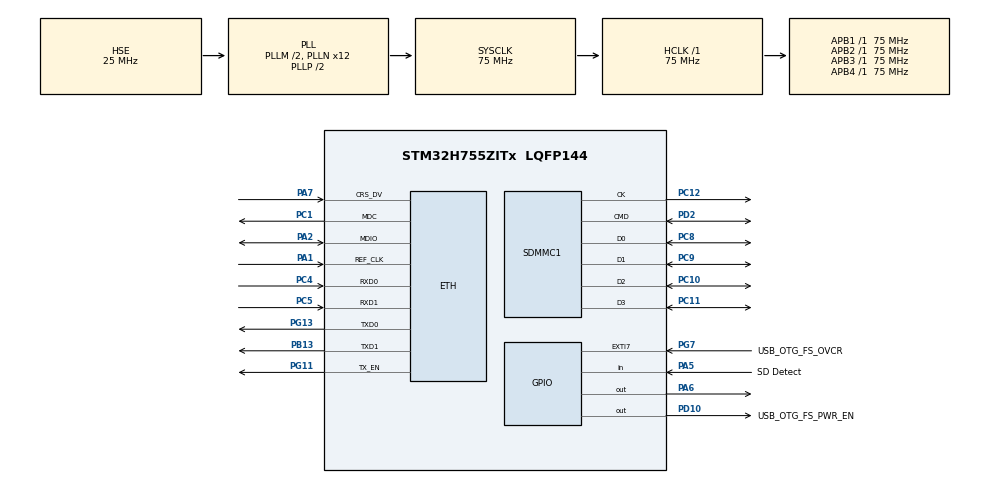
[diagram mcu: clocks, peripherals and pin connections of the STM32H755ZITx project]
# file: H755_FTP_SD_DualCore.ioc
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CORTEX_M7.AccessPermission-Cortex_Memory_Protection_Unit_Region0_Settings=MPU_REGION_FULL_ACCESS
CORTEX_M7.BaseAddress-Cortex_Memory_Protection_Unit_Region0_Settings=0x24000000
CORTEX_M7.CPU_DCache=Enabled
CORTEX_M7.CPU_ICache=Enabled
CORTEX_M7.DisableExec-Cortex_Memory_Protection_Unit_Region0_Settings=MPU_INSTRUCTION_ACCESS_DISABLE
CORTEX_M7.Enable-Cortex_Memory_Protection_Unit_Region0_Settings=MPU_REGION_ENABLE
CORTEX_M7.IsShareable-Cortex_Memory_Protection_Unit_Region0_Settings=MPU_ACCESS_SHAREABLE
CORTEX_M7.MPU_Control=MPU_HFNMI_PRIVDEF
CORTEX_M7.Size-Cortex_Memory_Protection_Unit_Region0_Settings=MPU_REGION_SIZE_64KB
CortexM4.IPs=FATFS_M4\:I,FREERTOS_M4\:I,IWDG2\:I,RCC,WWDG2\:I,DMA,BDMA,MDMA,NVIC2\:I,ETH\:I,DEBUG,PDM2PCM_M4\:I,PWR,RESMGR_UTILITY,SYS_M4\:I,USB_DEVICE_M4\:I,USB_HOST_M4\:I,CORTEX_M4\:I,GPIO,OPENAMP_M4\:I,VREFBUF,NUCLEO-H755ZI-Q,LWIP\:I
CortexM7.IPs=FATFS_M7\:I,FREERTOS_M7\:I,IWDG1\:I,RCC\:I,WWDG1\:I,DMA\:I,BDMA\:I,MDMA\:I,NVIC1\:I,USB_OTG_FS\:I,USB_OTG_FS1\:I,SYS\:I,CORTEX_M7\:I,DEBUG\:I,PDM2PCM_M7\:I,PWR\:I,RESMGR_UTILITY\:I,USB_DEVICE_M7\:I,USB_HOST_M7\:I,GPIO\:I,OPENAMP_M7\:I,VREFBUF\:I,NUCLEO-H755ZI-Q\:I,SDMMC1\:I
CortexM7.Pins=PA5,PA6
ETH.MediaInterface=HAL_ETH_RMII_MODE
FATFS.BSP.number=1
FATFS0.BSP.STBoard=false
FATFS0.BSP.api=Unknown
FATFS0.BSP.instance=PA5
FATFS0.BSP.ip=GPIO
FATFS0.BSP.mode=Input
FATFS0.BSP.name=Detect_SDIO
FATFS0.BSP.solution=PA5
FATFS_M7._USE_LFN=1
LWIP.BSP.number=1
LWIP.GATEWAY_ADDRESS=192.168.088.254
LWIP.IP_ADDRESS=192.168.088.010
LWIP.LWIP_DHCP=0
LWIP.NETMASK_ADDRESS=255.255.255.000
LWIP.Version=v2.2.1_Cube
LWIP0.BSP.STBoard=false
LWIP0.BSP.api=BSP_COMPONENT_DRIVER
LWIP0.BSP.component=LAN8742
LWIP0.BSP.instance=LAN8742
LWIP0.BSP.name=Driver_PHY
LWIP0.BSP.semaphore=S_LAN8742
LWIP0.BSP.solution=LAN8742
Mcu.Family=STM32H7
Mcu.Name=STM32H755ZITx
Mcu.Package=LQFP144
NUCLEO-H755ZI-Q.BUTTON=1
NUCLEO-H755ZI-Q.LD1=true
NUCLEO-H755ZI-Q.LD2=true
NUCLEO-H755ZI-Q.LD3=true
NUCLEO-H755ZI-Q.VCP=true
NVIC1.EXTI15_10_IRQn=true\:0\:0\:false\:false\:true\:false\:true\:true
NVIC1.PriorityGroup=NVIC_PRIORITYGROUP_4
NVIC1.SDMMC1_IRQn=true\:0\:0\:false\:false\:true\:true\:true\:true
NVIC2.PriorityGroup=NVIC_PRIORITYGROUP_4
PA1.GPIO_Speed_Default_HIGH=GPIO_SPEED_FREQ_VERY_HIGH
PA1.Mode=RMII
PA1.PinAttribute=CortexM4
PA1.Signal=ETH_REF_CLK
PA11.PinAttribute=CortexM7
PA11.Signal=USB_OTG_FS_DM
PA12.PinAttribute=CortexM7
PA12.Signal=USB_OTG_FS_DP
PA2.GPIO_Speed_Default_HIGH=GPIO_SPEED_FREQ_VERY_HIGH
PA2.Mode=RMII
PA2.PinAttribute=CortexM4
PA2.Signal=ETH_MDIO
PA5.GPIO_Label=SD Detect
PA5.PinAttribute=CortexM7
PA5.Signal=GPIO_Input
PA6.GPIO_Speed=GPIO_SPEED_FREQ_VERY_HIGH
PA6.PinAttribute=CortexM7
PA6.Signal=GPIO_Output
PA7.GPIO_Speed_Default_HIGH=GPIO_SPEED_FREQ_VERY_HIGH
PA7.Mode=RMII
PA7.PinAttribute=CortexM4
PA7.Signal=ETH_CRS_DV
PA8.PinAttribute=CortexM7
PA8.Signal=USB_OTG_FS_SOF
PA9.PinAttribute=CortexM7
PA9.Signal=USB_OTG_FS_VBUS
PB13.GPIO_Speed_Default_HIGH=GPIO_SPEED_FREQ_VERY_HIGH
PB13.Mode=RMII
PB13.PinAttribute=CortexM4
PB13.Signal=ETH_TXD1
PC1.GPIO_Speed_Default_HIGH=GPIO_SPEED_FREQ_VERY_HIGH
PC1.Mode=RMII
PC1.PinAttribute=CortexM4
PC1.Signal=ETH_MDC
PC10.GPIO_PuPd=GPIO_PULLUP
PC10.Mode=SD_4_bits_Wide_bus
PC10.PinAttribute=CortexM7
PC10.Signal=SDMMC1_D2
PC11.GPIO_PuPd=GPIO_PULLUP
PC11.Mode=SD_4_bits_Wide_bus
PC11.PinAttribute=CortexM7
PC11.Signal=SDMMC1_D3
PC12.GPIO_PuPd=GPIO_PULLUP
PC12.Mode=SD_4_bits_Wide_bus
PC12.PinAttribute=CortexM7
PC12.Signal=SDMMC1_CK
PC14-OSC32_IN\ (OSC32_IN).PinAttribute=Free
PC14-OSC32_IN\ (OSC32_IN).Signal=RCC_OSC32_IN
PC15-OSC32_OUT\ (OSC32_OUT).PinAttribute=Free
PC15-OSC32_OUT\ (OSC32_OUT).Signal=RCC_OSC32_OUT
PC4.GPIO_Speed_Default_HIGH=GPIO_SPEED_FREQ_VERY_HIGH
PC4.Mode=RMII
PC4.PinAttribute=CortexM4
PC4.Signal=ETH_RXD0
PC5.GPIO_Speed_Default_HIGH=GPIO_SPEED_FREQ_VERY_HIGH
PC5.Mode=RMII
PC5.PinAttribute=CortexM4
PC5.Signal=ETH_RXD1
PC8.GPIO_PuPd=GPIO_PULLUP
PC8.Mode=SD_4_bits_Wide_bus
PC8.PinAttribute=CortexM7
PC8.Signal=SDMMC1_D0
PC9.GPIO_PuPd=GPIO_PULLUP
PC9.Mode=SD_4_bits_Wide_bus
PC9.PinAttribute=CortexM7
PC9.Signal=SDMMC1_D1
PD10.GPIO_Label=USB_OTG_FS_PWR_EN
PD10.PinAttribute=Free
PD10.Signal=GPIO_Output
PD2.GPIO_PuPd=GPIO_PULLUP
PD2.Mode=SD_4_bits_Wide_bus
PD2.PinAttribute=CortexM7
PD2.Signal=SDMMC1_CMD
PD8.Signal=USART3_TX
PD9.Signal=USART3_RX
PG11.GPIO_Speed_Default_HIGH=GPIO_SPEED_FREQ_VERY_HIGH
PG11.Mode=RMII
PG11.PinAttribute=CortexM4
PG11.Signal=ETH_TX_EN
PG13.GPIO_Speed_Default_HIGH=GPIO_SPEED_FREQ_VERY_HIGH
PG13.Mode=RMII
PG13.PinAttribute=CortexM4
PG13.Signal=ETH_TXD0
PG7.GPIO_Label=USB_OTG_FS_OVCR
PG7.PinAttribute=Free
PG7.Signal=GPXTI7
PH0-OSC_IN\ (PH0).Mode=HSE-External-Clock-Source
PH0-OSC_IN\ (PH0).PinAttribute=Free
PH0-OSC_IN\ (PH0).Signal=RCC_OSC_IN
PH1-OSC_OUT\ (PH1).PinAttribute=Free
PH1-OSC_OUT\ (PH1).Signal=RCC_OSC_OUT
ProjectManager.HeapSize=M4-0x1000,M7-0x1000
ProjectManager.StackSize=M4-0x1000,M7-0x2000
ProjectManager.TargetToolchain=STM32CubeIDE
RCC.ADCFreq_Value=50390625
RCC.APB1Freq_Value=75000000
RCC.APB2Freq_Value=75000000
RCC.APB3Freq_Value=75000000
RCC.APB4Freq_Value=75000000
RCC.CortexFreq_Value=75000000
RCC.DIVM1=2
RCC.DIVN1=12
RCC.HCLKFreq_Value=75000000
RCC.PLL2FRACN=0
RCC.PLL3FRACN=0
RCC.PLLFRACN=0
RCC.PLLSourceVirtual=RCC_PLLSOURCE_HSE
RCC.SYSCLKFreq_VALUE=75000000
RCC.SYSCLKSource=RCC_SYSCLKSOURCE_PLLCLK
RCC.SupplySource=PWR_DIRECT_SMPS_SUPPLY
RCC.USBFreq_Value=75000000
SDMMC1.ClockDiv=4
VP_FATFS_M7_VS_SDIO.Mode=SDIO
VP_LWIP_VS_Enabled.Mode=Enabled
VP_NUCLEO-H755ZI-Q_VS_BSP_COMMON.Mode=COMMON
VP_SYS_M4_VS_Systick.Mode=SysTick
board=NUCLEO-H755ZI-Q

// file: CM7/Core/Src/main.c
/* USER CODE BEGIN Header */
/**
  ******************************************************************************
  * @file           : main.c
  * @brief          : Main program body
  ******************************************************************************
  * @attention
  *
  * Copyright (c) 2026 STMicroelectronics.
  * All rights reserved.
  *
  * This software is licensed under terms that can be found in the LICENSE file
  * in the root directory of this software component.
  * If no LICENSE file comes with this software, it is provided AS-IS.
  *
  ******************************************************************************
  */
/* USER CODE END Header */
#include "main.h"
#include "fatfs.h"
#include "sdmmc.h"
#include "gpio.h"

/* USER CODE BEGIN Includes */
#include "ff.h"
#include <stdio.h>
#include <string.h>
#include "cm7_file_index.h"
/* USER CODE END Includes */

/* USER CODE BEGIN PD */

/* DUAL_CORE_BOOT_SYNC_SEQUENCE: Define for dual core boot synchronization    */
/*                             demonstration code based on hardware semaphore */
/* This define is present in both CM7/CM4 projects                            */
/* To comment when developping/debugging on a single core                     */
#define DUAL_CORE_BOOT_SYNC_SEQUENCE

#if defined(DUAL_CORE_BOOT_SYNC_SEQUENCE)
#ifndef HSEM_ID_0
#define HSEM_ID_0 (0U) /* HW semaphore 0*/
#endif
#endif /* DUAL_CORE_BOOT_SYNC_SEQUENCE */

/* USER CODE END PD */

COM_InitTypeDef BspCOMInit;

/* USER CODE BEGIN PV */

/******************************* 以下變數開啟，因為在其他檔案有用到 ****************************************/
#define BUFFER_SIZE_BYTES     (32 * 1024)

#define SD_BLOCK_SIZE         512
#define SD_BLOCK_COUNT        (BUFFER_SIZE_BYTES / SD_BLOCK_SIZE)

#define START_SECTOR          0x1000

#define CHUNKS_PER_FILE       16    // 生成5個檔案，約 8 秒 432KB，8192筆資料
//#define CHUNKS_PER_FILE       64    // 生成 約 1.7MB 大小的檔案，檔案內容資料有 32768 筆資料

#define MAX_FILES_TO_GENERATE 5   // 控制： 最多生成幾個檔案 方便測試。  5 -> 產生5個檔案

#define PAYLOAD_SIZE        54

#define PAYLOAD_BUFFER_SIZE \
    (RECORD_COUNT * PAYLOAD_SIZE)

#define RECORD_COUNT   (BUFFER_SIZE_BYTES / sizeof(log_record_t))

typedef struct
{
    uint8_t payload[PAYLOAD_SIZE];

    uint16_t tail;

    uint32_t record_id;

    uint32_t file_id;

} log_record_t;

FIL MyFile;

__attribute__((section(".RAM_D1")))
__attribute__((aligned(32)))
log_record_t read_buffer[RECORD_COUNT];

__attribute__((section(".RAM_D1")))
__attribute__((aligned(32)))
uint8_t payload_buffer[PAYLOAD_BUFFER_SIZE];

__attribute__((section(".RAM_D1")))
__attribute__((aligned(32)))
log_record_t sd_buffer[RECORD_COUNT]; // 寫入 SD 卡 的 buffer

uint32_t current_sector = START_SECTOR;

uint32_t global_record_id = 0;
uint32_t current_file_id = 0;

uint32_t current_chunk_count = 0;

// 以下四個變數在其他檔案用到，針對中斷當作旗標
volatile uint8_t sd_read_done = 0;
volatile uint8_t sd_read_error = 0;

volatile uint8_t sd_dma_tx_done = 0;
volatile uint8_t sd_dma_tx_error = 0;

volatile uint8_t g_sd_inserted = 0; // SD 卡插拔狀態 旗標
volatile uint8_t g_sd_mounted  = 0; // SD 卡插拔狀態 旗標

/****************************************************************************************/

/* USER CODE END PV */

void SystemClock_Config(void);
static void MPU_Config(void);

/* USER CODE BEGIN 0 */

/******************************* 暫時先關閉 ****************************************

// ----------------- raw data to SD card START -------------------------
// 模擬方式填滿 64 byte 資料
void FillBuffer(void)
{
    uint32_t i;
    uint32_t j;

    log_record_t *record;

    for(i = 0; i < RECORD_COUNT; i++)
    {
        record = &sd_buffer[i];

        for(j = 0; j < 52; j++)
        {
            record->payload[j] =
                (uint8_t)('A' + (j % 26));
        }

        record->payload[52] = '\r';
        record->payload[53] = '\n';

        record->tail = 0xAA55;

        record->record_id = global_record_id++;

        record->file_id = current_file_id;
    }
}

// 計算 SD 卡內有機個 64M Byte
uint32_t CountSegments(uint32_t expected_segments)
{
    uint32_t segment_count = 0;

    uint32_t segment;

    uint32_t sector;

    for(segment = 0;
        segment < expected_segments;
        segment++)
    {
        sector =
            START_SECTOR +
            (segment * CHUNKS_PER_FILE * SD_BLOCK_COUNT);

        if(HAL_SD_ReadBlocks(&hsd1,
                             (uint8_t*)read_buffer,
                             sector,
                             SD_BLOCK_COUNT,
                             HAL_MAX_DELAY) != HAL_OK)
        {
            break;
        }

        SCB_InvalidateDCache_by_Addr(
            (uint32_t*)read_buffer,
            ALIGN_32_SIZE(BUFFER_SIZE_BYTES)
        );

        // 只檢查 tail marker

        if(read_buffer[0].tail != 0xAA55)
        {
            break;
        }

        segment_count++;
    }

    return segment_count;
}
// ----------------- raw data to SD card END -------------------------

// ----------------- raw data to FATFS START -------------------------
uint8_t ValidateChunk(void)
{
    uint32_t i;

    for(i = 0; i < RECORD_COUNT; i++)
    {
        if(read_buffer[i].tail != 0xAA55)
        {
            return 0;
        }
    }

    return 1;
}

void GenerateFatFsFile(uint32_t file_id)
{
    UINT bw;

    char filename[64];

    uint32_t chunk;

	uint32_t i;

    uint32_t payload_offset;

    current_sector =
        START_SECTOR +
        (file_id * CHUNKS_PER_FILE * SD_BLOCK_COUNT);

    f_mkdir("LOGFILES");

    sprintf(filename,
            "LOGFILES/LOG%04lu.TXT",
            file_id);

    //PA6 HIGH 開始量測：  Raw Data -> FATFS 檔案生成總時間
    HAL_GPIO_WritePin(GPIOA,
                      GPIO_PIN_6,
                      GPIO_PIN_SET);

    // 建立 FATFS 檔案
    if(f_open(&MyFile,
              filename,
              FA_CREATE_ALWAYS | FA_WRITE) != FR_OK)
    {
        BSP_LED_On(LED_RED);
        while(1);
    }

    // 開始讀取 Raw Data
    for(chunk = 0; chunk < CHUNKS_PER_FILE; chunk++)
    {
        //DMA Read 32KB
        sd_read_done = 0;
        sd_read_error = 0;

        if(HAL_SD_ReadBlocks_DMA(&hsd1,
                                (uint8_t*)read_buffer,
                                current_sector,
                                SD_BLOCK_COUNT) != HAL_OK)
        {
            BSP_LED_On(LED_RED);
            while(1);
        }

        //等待 DMA 完成
        while(sd_read_done == 0)
        {
            if(sd_read_error)
            {
                BSP_LED_On(LED_RED);

                while(1);
            }
            BSP_LED_On(LED_YELLOW);
        }
        BSP_LED_Off(LED_YELLOW);

        while(HAL_SD_GetCardState(&hsd1) != HAL_SD_CARD_TRANSFER)
        {
          BSP_LED_On(LED_GREEN);
        }
        BSP_LED_Off(LED_GREEN);// 綠燈不亮，表示 Raw Data 很快讀取完成

        // D-Cache invalidate
        SCB_InvalidateDCache_by_Addr(
            (uint32_t*)read_buffer,
            ALIGN_32_SIZE(BUFFER_SIZE_BYTES)
        );

		if(ValidateChunk() == 0)
        {
            break;
        }

		payload_offset = 0;

        for(i = 0; i < RECORD_COUNT; i++)
        {
            memcpy(&payload_buffer[payload_offset],
                   read_buffer[i].payload,
                   PAYLOAD_SIZE);

            payload_offset += PAYLOAD_SIZE;
        }

        if(f_write(&MyFile,
                  payload_buffer,
                  payload_offset,
                  &bw) != FR_OK)
        {
            BSP_LED_On(LED_RED);
            while(1);
        }

        // 下一段 Raw Sector
        current_sector += SD_BLOCK_COUNT;
    }

    //關閉檔案
    f_close(&MyFile);

    // PA6 LOW   檔案完成
    HAL_GPIO_WritePin(GPIOA,
                      GPIO_PIN_6,
                      GPIO_PIN_RESET);

}
//  ----------------- raw data to FATFS END -------------------------
*****************************************************************************/

/* USER CODE END 0 */

int main(void)
{

/* USER CODE BEGIN Boot_Mode_Sequence_0 */
#if defined(DUAL_CORE_BOOT_SYNC_SEQUENCE)
  int32_t timeout;
#endif /* DUAL_CORE_BOOT_SYNC_SEQUENCE */
/* USER CODE END Boot_Mode_Sequence_0 */

  /* MPU Configuration--------------------------------------------------------*/
  MPU_Config();

  /* Enable the CPU Cache */

  /* Enable I-Cache---------------------------------------------------------*/
  SCB_EnableICache();

  /* Enable D-Cache---------------------------------------------------------*/
  SCB_EnableDCache();

/* USER CODE BEGIN Boot_Mode_Sequence_1 */
#if defined(DUAL_CORE_BOOT_SYNC_SEQUENCE)
  /* Wait until CPU2 boots and enters in stop mode or timeout*/
  timeout = 0xFFFF;
  while((__HAL_RCC_GET_FLAG(RCC_FLAG_D2CKRDY) != RESET) && (timeout-- > 0));
  if ( timeout < 0 )
  {
  Error_Handler();
  }
#endif /* DUAL_CORE_BOOT_SYNC_SEQUENCE */
/* USER CODE END Boot_Mode_Sequence_1 */
  /* MCU Configuration--------------------------------------------------------*/

  /* Reset of all peripherals, Initializes the Flash interface and the Systick. */
  HAL_Init();

  /* USER CODE BEGIN Init */

  /* Initialize leds */
  BSP_LED_Init(LED_GREEN);
  BSP_LED_Init(LED_YELLOW);
  BSP_LED_Init(LED_RED);

  /* USER CODE END Init */

  /* Configure the system clock */
  SystemClock_Config();
/* USER CODE BEGIN Boot_Mode_Sequence_2 */
#if defined(DUAL_CORE_BOOT_SYNC_SEQUENCE)
/* When system initialization is finished, Cortex-M7 will release Cortex-M4 by means of
HSEM notification */
/*HW semaphore Clock enable*/
__HAL_RCC_HSEM_CLK_ENABLE();
/*Take HSEM */
HAL_HSEM_FastTake(HSEM_ID_0);
/*Release HSEM in order to notify the CPU2(CM4)*/
HAL_HSEM_Release(HSEM_ID_0,0);
/* wait until CPU2 wakes up from stop mode */
timeout = 0xFFFF;
while((__HAL_RCC_GET_FLAG(RCC_FLAG_D2CKRDY) == RESET) && (timeout-- > 0));
if ( timeout < 0 )
{
Error_Handler();
}
#endif /* DUAL_CORE_BOOT_SYNC_SEQUENCE */
/* USER CODE END Boot_Mode_Sequence_2 */

  /* USER CODE BEGIN SysInit */

  HAL_PWREx_ReleaseCore(PWR_CORE_CPU2); // 喚醒 Cortex-M4 核心

  /* USER CODE END SysInit */

  /* Initialize all configured peripherals */
  MX_GPIO_Init();
  MX_SDMMC1_SD_Init();
  MX_FATFS_Init();

  /* USER CODE BEGIN 2 */

    // CM7 負責 FATFS 與 SD 卡，所以在這裡要偵測 SD 卡是否存在
    if(HAL_GPIO_ReadPin(GPIOA, GPIO_PIN_5) == GPIO_PIN_RESET) // 確認 SD 卡 存在
    {
        g_shared_file_list.sd_dropped = 0;

        FRESULT res;

        res = f_mount(&SDFatFS, (TCHAR const*)SDPath, 1);

        if(res == FR_OK)
        {
            g_sd_inserted = 1;
            g_sd_mounted  = 1;

            CM7_BuildFileList();

            g_shared_file_list.retr_request = 0;
            g_shared_file_list.retr_busy = 0;
            g_shared_file_list.retr_done = 0;

            g_shared_file_list.update_request = 0;
            g_shared_file_list.update_busy = 0;
            g_shared_file_list.update_done = 1;

            SCB_CleanDCache_by_Addr(
                (uint32_t *)&g_shared_file_list,
                ALIGN_32_SIZE(sizeof(g_shared_file_list)));
        }
        else
        {
            g_sd_inserted = 1;
            g_sd_mounted  = 0;
            // 有偵測到 SD 卡存在，但 mount 失敗
            HAL_GPIO_WritePin(GPIOB, GPIO_PIN_14, GPIO_PIN_SET);// 亮紅燈 (PB14)
        }
    }
    else
    {
        // 沒有 SD 卡 存在
        g_sd_inserted = 0;
        g_sd_mounted  = 0;

        g_shared_file_list.sd_dropped = 1;

        HAL_GPIO_WritePin(GPIOB, GPIO_PIN_14, GPIO_PIN_SET);// 亮紅燈 (PB14)
    }

  /* USER CODE END 2 */

  /* Initialize USER push-button, will be used to trigger an interrupt each time it's pressed.*/
  BSP_PB_Init(BUTTON_USER, BUTTON_MODE_EXTI);

  /* Initialize COM1 port (115200, 8 bits (7-bit data + 1 stop bit), no parity */
  BspCOMInit.BaudRate   = 115200;
  BspCOMInit.WordLength = COM_WORDLENGTH_8B;
  BspCOMInit.StopBits   = COM_STOPBITS_1;
  BspCOMInit.Parity     = COM_PARITY_NONE;
  BspCOMInit.HwFlowCtl  = COM_HWCONTROL_NONE;
  if (BSP_COM_Init(COM1, &BspCOMInit) != BSP_ERROR_NONE)
  {
    Error_Handler();
  }

  /* ------------------ CRITICAL MODIFICATION BEGIN ------------------ */

  // 1. 啟用 SYSCFG 時脈（SYSCFG 位於 APB4 總線，控制了全晶片的引腳網路模式切換）
  __HAL_RCC_SYSCFG_CLK_ENABLE();

  // 2. 強制將乙太網路硬體介面切換為 RMII 模式。
  //    這行硬體設定必須在 CM4 核心啟動並初始化網路之前，由 CM7 先行在底層組態完成！
  HAL_SYSCFG_ETHInterfaceSelect(SYSCFG_ETH_RMII);

  /* ------------------- CRITICAL MODIFICATION END ------------------- */

  /* Infinite loop */
  /* USER CODE BEGIN WHILE */

  /*
  2048 loops = 1 個 64MB segment
  4096 loops = 2 個 64MB segment
  6144 loops = 3 個 64MB segment
  8192 loops = 4 個 64MB segment
  10240 loops = 5 個 64MB segment

  16384 loops = 8 個 64MB segment
  */
  uint8_t current_sd_state;

  while (1)
  {

    current_sd_state = (HAL_GPIO_ReadPin(GPIOA, GPIO_PIN_5) == GPIO_PIN_RESET); // 插拔 SD 卡偵測

    // SD 拔除事件
    if((current_sd_state == 0) && (g_sd_inserted == 1))
    {
        f_mount(NULL, "", 0);

        g_sd_inserted = 0;
        g_sd_mounted  = 0;

        memset((void*)g_shared_file_list.files, 0, sizeof(g_shared_file_list.files));

        g_shared_file_list.file_count = 0;
        g_shared_file_list.update_request = 0;
        g_shared_file_list.update_busy = 0;
        g_shared_file_list.update_done = 0;

        // 【關鍵加入】：通知 CM4，SD卡已經不見了，趕快把 FTP 客戶端斷開！
        g_shared_file_list.sd_dropped = 1;

        SCB_CleanDCache_by_Addr((uint32_t *)&g_shared_file_list, ALIGN_32_SIZE(sizeof(g_shared_file_list)));

        // SD 卡不再插槽內
        HAL_GPIO_WritePin(GPIOB, GPIO_PIN_0, GPIO_PIN_RESET);
        HAL_GPIO_WritePin(GPIOB, GPIO_PIN_14, GPIO_PIN_SET);// 亮紅燈 (PB14)

    }

    // SD 插入事件
    if((current_sd_state == 1) && (g_sd_inserted == 0))
    {
        HAL_SD_DeInit(&hsd1);

        MX_SDMMC1_SD_Init();

        if(f_mount(&SDFatFS, (TCHAR const*)SDPath, 1) == FR_OK)
        {
            g_sd_inserted = 1;
            g_sd_mounted  = 1;

            CM7_BuildFileList();

            g_shared_file_list.update_done = 1;
        }
        else
        {
            g_sd_inserted = 1;
            g_sd_mounted  = 0;
        }

        g_shared_file_list.sd_dropped = 0; // 【關鍵加入】還原旗標
        SCB_CleanDCache_by_Addr((uint32_t *)&g_shared_file_list, ALIGN_32_SIZE(sizeof(g_shared_file_list)));

        // SD 卡在插槽內
        HAL_GPIO_WritePin(GPIOB, GPIO_PIN_0, GPIO_PIN_SET);// 亮綠燈 (PB0)

    }

    SCB_InvalidateDCache_by_Addr((uint32_t *)&g_shared_file_list, ALIGN_32_SIZE(sizeof(g_shared_file_list)));

    // 更新檔案列表
    if(g_shared_file_list.update_request)
    {
        g_shared_file_list.update_busy = 1;
        g_shared_file_list.update_done = 0;

        SCB_CleanDCache_by_Addr(
            (uint32_t *)&g_shared_file_list,
            ALIGN_32_SIZE(sizeof(g_shared_file_list)));

        CM7_BuildFileList();

        g_shared_file_list.update_done = 1;// 檔案列表已經建置完成，通知 CM4 可以抓取
        g_shared_file_list.update_busy = 0;
        g_shared_file_list.update_request = 0; // 清除 檔案列表 旗標，等待下一次再執行 dir 檔案列表

        SCB_CleanDCache_by_Addr((uint32_t *)&g_shared_file_list, ALIGN_32_SIZE(sizeof(g_shared_file_list)));

        // 確保硬體總線寫入完成
        __DSB();
        __ISB();

    }

    if(g_shared_file_list.retr_request)
    {
        g_shared_file_list.retr_busy = 1;
        g_shared_file_list.retr_done = 0;

        SCB_CleanDCache_by_Addr(
            (uint32_t *)&g_shared_file_list,
            ALIGN_32_SIZE(sizeof(g_shared_file_list)));

        CM7_ReadFileRequest(&g_shared_file_list);

        g_shared_file_list.retr_done = 1;
        g_shared_file_list.retr_busy = 0;
        g_shared_file_list.retr_request = 0;

        SCB_CleanDCache_by_Addr(
            (uint32_t *)&g_shared_file_list,
            ALIGN_32_SIZE(sizeof(g_shared_file_list)));

        __DSB();
        __ISB();
    }

/******************************** 暫時關閉 ****************************************************
    // ------------- 將 Raw Data 寫入 SD Card START -------------

      uint64_t loop;
      uint64_t max_loop = 40960; // 驗證過，確實會產生 20 個 Pulse 2026-05-28
      uint32_t segmentation = max_loop / 2048;

      for(loop = 0; loop < max_loop; loop++)  //可形成 4 個 64MB segmentation
      {
          FillBuffer();
          //memset(sd_buffer, 0x55, BUFFER_SIZE_BYTES);//驗證 FillBuffer(); 是否有問題之用

          SCB_CleanDCache_by_Addr((uint32_t*)sd_buffer, BUFFER_SIZE_BYTES);

          sd_dma_tx_done = 0;
          sd_dma_tx_error = 0;

          HAL_GPIO_WritePin(GPIOA, GPIO_PIN_6, GPIO_PIN_SET);//寫入到SD卡前拉高電位

          if(HAL_SD_WriteBlocks_DMA(&hsd1,
                                     (uint8_t*)sd_buffer,
                                    current_sector,
                                    SD_BLOCK_COUNT) != HAL_OK)
          {
              Error_Handler();
          }

          while((sd_dma_tx_done == 0) && (sd_dma_tx_error == 0))
          {
            // DMA背景寫入期間 CM7持續做別的工作 本行用於證明這是非阻塞式 工作模式，當 HAL_SD_WriteBlocks_DMA 執行後， CM7 控制權可以去做其他事情，不必等待 SD 卡寫完
            //HAL_GPIO_TogglePin(GPIOA, GPIO_PIN_6);
          }

          // ★ 等 SD card internal write 完成（關鍵）
          while (HAL_SD_GetCardState(&hsd1) != HAL_SD_CARD_TRANSFER)
          {
          }

          HAL_GPIO_WritePin(GPIOA, GPIO_PIN_6, GPIO_PIN_RESET);// 完成SD卡寫入，電位拉低

          if(sd_dma_tx_error)
          {
              Error_Handler();
          }

          current_sector += SD_BLOCK_COUNT;

          current_chunk_count++;

          if(current_chunk_count >= CHUNKS_PER_FILE)
          {
              current_chunk_count = 0;
              current_file_id++;
          }

          //HAL_Delay(10);//不需要透過這種固定式延遲，由 while (HAL_SD_GetCardState(&hsd1) != HAL_SD_CARD_TRANSFER) 來判斷是否寫入完成
      }

      // 上面是寫入資料到 SD 卡，以 Raw data 方式，這裡是讀出 SD 卡資料。
      // 每讀出一個 64M Byte 單位，就顯示一個脈波高電位
      uint32_t segment_count;

      segment_count = CountSegments(segmentation);

      while(1)
      {
          uint32_t i;

          for(i = 0; i < segment_count; i++)
          {
              HAL_GPIO_WritePin(GPIOA,
                                GPIO_PIN_6,
                                GPIO_PIN_SET);

              HAL_Delay(1);

              HAL_GPIO_WritePin(GPIOA,
                                GPIO_PIN_6,
                                GPIO_PIN_RESET);

              HAL_Delay(1);
          }

          HAL_Delay(30);
      }

    // ------------- 將 Raw Data 寫入 SD Card END -------------

    // ------------- 生成 FATFS 檔案 START -------------
    uint32_t file_id;

    if(f_mount(&SDFatFS,
               (TCHAR const*)SDPath,
               1) != FR_OK)
    {
        BSP_LED_On(LED_RED);
        while(1);
        Error_Handler();
    }

    for(file_id = 0; file_id < MAX_FILES_TO_GENERATE; file_id++)  // 想要生成幾個1.7MB檔案，檔案內容資料有 32768 筆資料，修改 MAX_FILES_TO_GENERATE 數值即可
    {
        GenerateFatFsFile(file_id);
    }

    while(1)
    {
    }
    // ------------- 生成 FATFS 檔案 END -------------

********************************************************************************************/

    /* USER CODE END WHILE */

  }
}

void SystemClock_Config(void)
{
  RCC_OscInitTypeDef RCC_OscInitStruct = {0};
  RCC_ClkInitTypeDef RCC_ClkInitStruct = {0};

  /** Supply configuration update enable
  */
  HAL_PWREx_ConfigSupply(PWR_DIRECT_SMPS_SUPPLY);

  /** Configure the main internal regulator output voltage
  */
  __HAL_PWR_VOLTAGESCALING_CONFIG(PWR_REGULATOR_VOLTAGE_SCALE3);

  while(!__HAL_PWR_GET_FLAG(PWR_FLAG_VOSRDY)) {}

  /** Initializes the RCC Oscillators according to the specified parameters
  * in the RCC_OscInitTypeDef structure.
  */
  RCC_OscInitStruct.OscillatorType = RCC_OSCILLATORTYPE_HSE;
  RCC_OscInitStruct.HSEState = RCC_HSE_BYPASS;
  RCC_OscInitStruct.PLL.PLLState = RCC_PLL_ON;
  RCC_OscInitStruct.PLL.PLLSource = RCC_PLLSOURCE_HSE;
  RCC_OscInitStruct.PLL.PLLM = 2;
  RCC_OscInitStruct.PLL.PLLN = 12;
  RCC_OscInitStruct.PLL.PLLP = 2;
  RCC_OscInitStruct.PLL.PLLQ = 2;
  RCC_OscInitStruct.PLL.PLLR = 2;
  RCC_OscInitStruct.PLL.PLLRGE = RCC_PLL1VCIRANGE_3;
  RCC_OscInitStruct.PLL.PLLVCOSEL = RCC_PLL1VCOMEDIUM;
  RCC_OscInitStruct.PLL.PLLFRACN = 0;
  if (HAL_RCC_OscConfig(&RCC_OscInitStruct) != HAL_OK)
  {
    Error_Handler();
  }

  /** Initializes the CPU, AHB and APB buses clocks
  */
  RCC_ClkInitStruct.ClockType = RCC_CLOCKTYPE_HCLK|RCC_CLOCKTYPE_SYSCLK
                              |RCC_CLOCKTYPE_PCLK1|RCC_CLOCKTYPE_PCLK2
                              |RCC_CLOCKTYPE_D3PCLK1|RCC_CLOCKTYPE_D1PCLK1;
  RCC_ClkInitStruct.SYSCLKSource = RCC_SYSCLKSOURCE_PLLCLK;
  RCC_ClkInitStruct.SYSCLKDivider = RCC_SYSCLK_DIV1;
  RCC_ClkInitStruct.AHBCLKDivider = RCC_HCLK_DIV1;
  RCC_ClkInitStruct.APB3CLKDivider = RCC_APB3_DIV1;
  RCC_ClkInitStruct.APB1CLKDivider = RCC_APB1_DIV1;
  RCC_ClkInitStruct.APB2CLKDivider = RCC_APB2_DIV1;
  RCC_ClkInitStruct.APB4CLKDivider = RCC_APB4_DIV1;

  if (HAL_RCC_ClockConfig(&RCC_ClkInitStruct, FLASH_LATENCY_1) != HAL_OK)
  {
    Error_Handler();
  }
}

 /* MPU Configuration */

void MPU_Config(void)
{
  MPU_Region_InitTypeDef MPU_InitStruct = {0};

  /* Disables the MPU */
  HAL_MPU_Disable();

  /** Initializes and configures the Region and the memory to be protected
  */
  MPU_InitStruct.Enable = MPU_REGION_ENABLE;
  MPU_InitStruct.Number = MPU_REGION_NUMBER0;
  MPU_InitStruct.BaseAddress = 0x24000000;
  MPU_InitStruct.Size = MPU_REGION_SIZE_256KB;// 這裡有修改，加大空間
  MPU_InitStruct.SubRegionDisable = 0x0;
  MPU_InitStruct.TypeExtField = MPU_TEX_LEVEL0;
  MPU_InitStruct.AccessPermission = MPU_REGION_FULL_ACCESS;
  MPU_InitStruct.DisableExec = MPU_INSTRUCTION_ACCESS_DISABLE;
  MPU_InitStruct.IsShareable = MPU_ACCESS_SHAREABLE;
  MPU_InitStruct.IsCacheable = MPU_ACCESS_NOT_CACHEABLE;
  MPU_InitStruct.IsBufferable = MPU_ACCESS_NOT_BUFFERABLE;

  HAL_MPU_ConfigRegion(&MPU_InitStruct);
  /* Enables the MPU */
  //HAL_MPU_Enable(MPU_HFNMI_PRIVDEF);
  HAL_MPU_Enable(MPU_PRIVILEGED_DEFAULT); // 之前成功的做法

}

void Error_Handler(void)
{
  __disable_irq();
  while (1)
  {
  }
}
